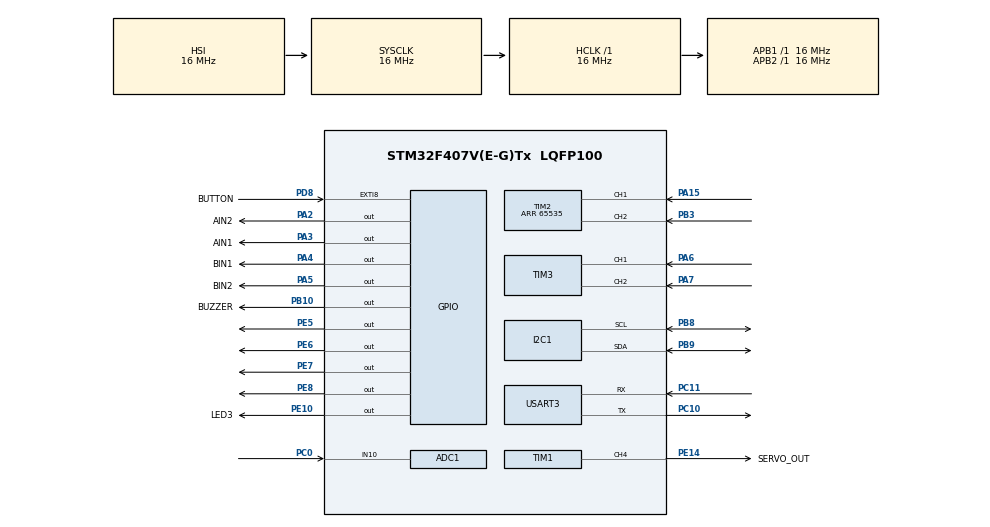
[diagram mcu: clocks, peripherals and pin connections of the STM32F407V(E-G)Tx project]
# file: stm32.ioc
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ADC1.Channel-0\#ChannelRegularConversion=ADC_CHANNEL_10
ADC1.ContinuousConvMode=ENABLE
ADC1.DMAContinuousRequests=ENABLE
ADC1.EnableAnalogWatchDog=true
ADC1.HighThreshold=2900
ADC1.NbrOfConversionFlag=1
ADC1.Rank-0\#ChannelRegularConversion=1
ADC1.SamplingTime-0\#ChannelRegularConversion=ADC_SAMPLETIME_3CYCLES
ADC1.WatchdogChannel=ADC_CHANNEL_10
ADC1.master=1
Dma.ADC1.0.Direction=DMA_PERIPH_TO_MEMORY
Dma.ADC1.0.FIFOMode=DMA_FIFOMODE_DISABLE
Dma.ADC1.0.Instance=DMA2_Stream0
Dma.ADC1.0.MemDataAlignment=DMA_MDATAALIGN_HALFWORD
Dma.ADC1.0.MemInc=DMA_MINC_ENABLE
Dma.ADC1.0.Mode=DMA_CIRCULAR
Dma.ADC1.0.PeriphDataAlignment=DMA_PDATAALIGN_HALFWORD
Dma.ADC1.0.PeriphInc=DMA_PINC_DISABLE
Dma.ADC1.0.Priority=DMA_PRIORITY_LOW
Dma.Request0=ADC1
FREERTOS.Tasks01=defaultTask,24,128,StartDefaultTask,Default,NULL,Dynamic,NULL,NULL;movement_task,24,256,movement,Default,NULL,Dynamic,NULL,NULL;uart_state_mach,24,400,state_machine,Default,NULL,Dynamic,NULL,NULL;encoder_display,8,128,encoder,Default,NULL,Dynamic,NULL,NULL;encoder_poll_ro,24,128,encoder_poller,Default,NULL,Dynamic,NULL,NULL;ir_adc_task,8,128,ir_adc,Default,NULL,Dynamic,NULL,NULL;ir_adc_poller_t,8,128,ir_adc_poller,Default,NULL,Dynamic,NULL,NULL;imu_poller,24,128,imu_read_routine,Default,NULL,Dynamic,NULL,NULL
FREERTOS.configENABLE_FPU=1
Mcu.Family=STM32F4
Mcu.Name=STM32F407V(E-G)Tx
Mcu.Package=LQFP100
NVIC.DMA2_Stream0_IRQn=true\:5\:0\:false\:false\:true\:true\:false\:true\:true
NVIC.EXTI9_5_IRQn=true\:5\:0\:false\:false\:true\:true\:true\:true\:true
NVIC.PriorityGroup=NVIC_PRIORITYGROUP_4
NVIC.USART3_IRQn=true\:5\:0\:false\:false\:true\:true\:true\:true\:true
PA15.Signal=S_TIM2_CH1_ETR
PA2.GPIO_Label=AIN2
PA2.GPIO_Speed=GPIO_SPEED_FREQ_HIGH
PA2.Signal=GPIO_Output
PA3.GPIO_Label=AIN1
PA3.GPIO_Speed=GPIO_SPEED_FREQ_HIGH
PA3.Signal=GPIO_Output
PA4.GPIO_Label=BIN1
PA4.GPIO_Speed=GPIO_SPEED_FREQ_HIGH
PA4.Signal=GPIO_Output
PA5.GPIO_Label=BIN2
PA5.GPIO_Speed=GPIO_SPEED_FREQ_HIGH
PA5.Signal=GPIO_Output
PA6.Signal=S_TIM3_CH1
PA7.Signal=S_TIM3_CH2
PB10.GPIO_Label=BUZZER
PB10.Signal=GPIO_Output
PB3.Signal=S_TIM2_CH2
PB8.Mode=I2C
PB8.Signal=I2C1_SCL
PB9.Mode=I2C
PB9.Signal=I2C1_SDA
PC0.Signal=ADCx_IN10
PC10.Mode=Asynchronous
PC10.Signal=USART3_TX
PC11.Mode=Asynchronous
PC11.Signal=USART3_RX
PC6.GPIO_Label=PWMA
PC6.Signal=S_TIM8_CH1
PC7.GPIO_Label=PWMB
PC7.Signal=S_TIM8_CH2
PD8.GPIO_Label=BUTTON
PD8.GPIO_ModeDefaultEXTI=GPIO_MODE_IT_FALLING
PD8.GPIO_PuPd=GPIO_PULLUP
PD8.Signal=GPXTI8
PE10.GPIO_Label=LED3
PE10.Signal=GPIO_Output
PE14.GPIO_Label=SERVO_OUT
PE14.Signal=S_TIM1_CH4
PE5.Signal=GPIO_Output
PE6.Signal=GPIO_Output
PE7.Signal=GPIO_Output
PE8.Signal=GPIO_Output
ProjectManager.HeapSize=0x200
ProjectManager.StackSize=0x400
ProjectManager.TargetToolchain=STM32CubeIDE
RCC.AHBFreq_Value=16000000
RCC.APB1Freq_Value=16000000
RCC.APB2Freq_Value=16000000
RCC.CortexFreq_Value=16000000
RCC.HSE_VALUE=25000000
RCC.HSI_VALUE=16000000
RCC.LSE_VALUE=32768
RCC.SYSCLKFreq_VALUE=16000000
RCC.VCOOutputFreq_Value=192000000
SH.ADCx_IN10.0=ADC1_IN10,IN10
SH.S_TIM1_CH4.0=TIM1_CH4,PWM Generation4 CH4
SH.S_TIM2_CH1_ETR.0=TIM2_CH1,Encoder_Interface
SH.S_TIM2_CH2.0=TIM2_CH2,Encoder_Interface
SH.S_TIM3_CH1.0=TIM3_CH1,Encoder_Interface
SH.S_TIM3_CH2.0=TIM3_CH2,Encoder_Interface
SH.S_TIM8_CH1.0=TIM8_CH1
SH.S_TIM8_CH2.0=TIM8_CH2
TIM1.AutoReloadPreload=TIM_AUTORELOAD_PRELOAD_ENABLE
TIM1.Channel-PWM\ Generation4\ CH4=TIM_CHANNEL_4
TIM1.Period=1000
TIM1.Prescaler=160
TIM2.Period=65535
TIM8.Channel-PWM\ Generation1\ No\ Output=TIM_CHANNEL_1
TIM8.Channel-PWM\ Generation2\ No\ Output=TIM_CHANNEL_2
TIM8.Period=7199
USART3.VirtualMode=VM_ASYNC
VP_FREERTOS_VS_CMSIS_V2.Mode=CMSIS_V2
VP_TIM1_VS_ClockSourceINT.Mode=Internal
VP_TIM8_VS_ClockSourceINT.Mode=Internal
VP_TIM8_VS_no_output1.Mode=PWM Generation1 No Output
VP_TIM8_VS_no_output2.Mode=PWM Generation2 No Output
board=custom

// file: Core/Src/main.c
/* USER CODE BEGIN Header */
/**
 ******************************************************************************
 * @file           : main.c
 * @brief          : Main program body
 ******************************************************************************
 * @attention
 *
 * <h2><center>&copy; Copyright (c) 2022 STMicroelectronics.
 * All rights reserved.</center></h2>
 *
 * This software component is licensed by ST under BSD 3-Clause license,
 * the "License"; You may not use this file except in compliance with the
 * License. You may obtain a copy of the License at:
 *                        opensource.org/licenses/BSD-3-Clause
 *
 ******************************************************************************
 */
/* USER CODE END Header */
#include "main.h"
#include "cmsis_os.h"

/* USER CODE BEGIN Includes */
#include "stdbool.h"
#include "string.h"
#include "inttypes.h"

#include "move.h"
#include "uart_state_machine.h"
#include "oled.h"
#include "encoder.h"
#include "ir_adc.h"
#include "imu_smooth.h"

/* USER CODE END Includes */

ADC_HandleTypeDef hadc1;
DMA_HandleTypeDef hdma_adc1;

I2C_HandleTypeDef hi2c1;

TIM_HandleTypeDef htim1;
TIM_HandleTypeDef htim2;
TIM_HandleTypeDef htim3;
TIM_HandleTypeDef htim8;

UART_HandleTypeDef huart3;

/* Definitions for defaultTask */
osThreadId_t defaultTaskHandle;
const osThreadAttr_t defaultTask_attributes = {
  .name = "defaultTask",
  .stack_size = 128 * 4,
  .priority = (osPriority_t) osPriorityNormal,
};
/* Definitions for movement_task */
osThreadId_t movement_taskHandle;
const osThreadAttr_t movement_task_attributes = {
  .name = "movement_task",
  .stack_size = 256 * 4,
  .priority = (osPriority_t) osPriorityNormal,
};
/* Definitions for uart_state_mach */
osThreadId_t uart_state_machHandle;
const osThreadAttr_t uart_state_mach_attributes = {
  .name = "uart_state_mach",
  .stack_size = 400 * 4,
  .priority = (osPriority_t) osPriorityNormal,
};
/* Definitions for encoder_display */
osThreadId_t encoder_displayHandle;
const osThreadAttr_t encoder_display_attributes = {
  .name = "encoder_display",
  .stack_size = 128 * 4,
  .priority = (osPriority_t) osPriorityLow,
};
/* Definitions for encoder_poll_ro */
osThreadId_t encoder_poll_roHandle;
const osThreadAttr_t encoder_poll_ro_attributes = {
  .name = "encoder_poll_ro",
  .stack_size = 128 * 4,
  .priority = (osPriority_t) osPriorityNormal,
};
/* Definitions for ir_adc_task */
osThreadId_t ir_adc_taskHandle;
const osThreadAttr_t ir_adc_task_attributes = {
  .name = "ir_adc_task",
  .stack_size = 128 * 4,
  .priority = (osPriority_t) osPriorityLow,
};
/* Definitions for ir_adc_poller_t */
osThreadId_t ir_adc_poller_tHandle;
const osThreadAttr_t ir_adc_poller_t_attributes = {
  .name = "ir_adc_poller_t",
  .stack_size = 128 * 4,
  .priority = (osPriority_t) osPriorityLow,
};
/* Definitions for imu_poller */
osThreadId_t imu_pollerHandle;
const osThreadAttr_t imu_poller_attributes = {
  .name = "imu_poller",
  .stack_size = 128 * 4,
  .priority = (osPriority_t) osPriorityNormal,
};
/* USER CODE BEGIN PV */

static ICM20948 IMU_instance = {0};
static IMUData_t IMU_data = {0};

/* USER CODE END PV */

void SystemClock_Config(void);
static void MX_GPIO_Init(void);
static void MX_DMA_Init(void);
static void MX_TIM1_Init(void);
static void MX_TIM8_Init(void);
static void MX_USART3_UART_Init(void);
static void MX_TIM2_Init(void);
static void MX_TIM3_Init(void);
static void MX_ADC1_Init(void);
static void MX_I2C1_Init(void);
void StartDefaultTask(void *argument);
void movement(void *argument);
void state_machine(void *argument);
void encoder(void *argument);
void encoder_poller(void *argument);
void ir_adc(void *argument);
void ir_adc_poller(void *argument);
void imu_read_routine(void *argument);

/* USER CODE BEGIN 0 */
uint8_t UART_RX_BUF[20]; // 20 char UART receive buffer
uint8_t UART_RX_CHAR;    // single char receive buffer
/* USER CODE END 0 */

int main(void)
{

  /* MCU Configuration--------------------------------------------------------*/

  /* Reset of all peripherals, Initializes the Flash interface and the Systick. */
  HAL_Init();

  /* Configure the system clock */
  SystemClock_Config();

  /* Initialize all configured peripherals */
  MX_GPIO_Init();
  MX_DMA_Init();
  MX_TIM1_Init();
  MX_TIM8_Init();
  MX_USART3_UART_Init();
  MX_TIM2_Init();
  MX_TIM3_Init();
  MX_ADC1_Init();
  MX_I2C1_Init();
  /* USER CODE BEGIN 2 */
    OLED_Init();

    ir_adc_init(&hadc1);

    HAL_UART_Receive_IT(&huart3, &UART_RX_CHAR, 1);

    motor_init_timer(&htim8, TIM_CHANNEL_1, TIM_CHANNEL_2);
    motor_init_gpio_left(GPIOA, AIN1_Pin, AIN2_Pin);
    motor_init_gpio_right(GPIOA, BIN1_Pin, BIN2_Pin);
    motor_stop();
    servo_init(&htim1, TIM_CHANNEL_4);
    encoder_init(&htim2, &htim3, TIM_CHANNEL_ALL, TIM_CHANNEL_ALL);
		// IMU_S_Initialise(&IMU_instance, &hi2c1, &huart3);
    IMU_Initialise(&IMU_instance, &hi2c1, &huart3);

    // send image capture on boot
    // USART3_SEND_IMAGE_CAPTURE();
  /* USER CODE END 2 */

  /* Init scheduler */
  osKernelInitialize();

  /* Create the thread(s) */
  /* creation of defaultTask */
  // defaultTaskHandle = osThreadNew(StartDefaultTask, NULL, &defaultTask_attributes);

  /* creation of movement_task */
  movement_taskHandle = osThreadNew(movement, NULL, &movement_task_attributes);

  /* creation of uart_state_mach */
  // uart_state_machHandle = osThreadNew(state_machine, NULL, &uart_state_mach_attributes);

  /* creation of encoder_display */
  encoder_displayHandle = osThreadNew(encoder, NULL, &encoder_display_attributes);

  /* creation of encoder_poll_ro */
  encoder_poll_roHandle = osThreadNew(encoder_poller, NULL, &encoder_poll_ro_attributes);

  /* creation of ir_adc_task */
  // ir_adc_taskHandle = osThreadNew(ir_adc, NULL, &ir_adc_task_attributes);

  /* creation of ir_adc_poller_t */
  ir_adc_poller_tHandle = osThreadNew(ir_adc_poller, NULL, &ir_adc_poller_t_attributes);

  /* creation of imu_poller */
  // imu_pollerHandle = osThreadNew(imu_read_routine, NULL, &imu_poller_attributes);

  /* Start scheduler */
  osKernelStart();

  /* We should never get here as control is now taken by the scheduler */
  /* Infinite loop */
    while (1)
    {

    }
}

void SystemClock_Config(void)
{
  RCC_OscInitTypeDef RCC_OscInitStruct = {0};
  RCC_ClkInitTypeDef RCC_ClkInitStruct = {0};

  /** Configure the main internal regulator output voltage
  */
  __HAL_RCC_PWR_CLK_ENABLE();
  __HAL_PWR_VOLTAGESCALING_CONFIG(PWR_REGULATOR_VOLTAGE_SCALE1);

  /** Initializes the RCC Oscillators according to the specified parameters
  * in the RCC_OscInitTypeDef structure.
  */
  RCC_OscInitStruct.OscillatorType = RCC_OSCILLATORTYPE_HSI;
  RCC_OscInitStruct.HSIState = RCC_HSI_ON;
  RCC_OscInitStruct.HSICalibrationValue = RCC_HSICALIBRATION_DEFAULT;
  RCC_OscInitStruct.PLL.PLLState = RCC_PLL_NONE;
  if (HAL_RCC_OscConfig(&RCC_OscInitStruct) != HAL_OK)
  {
    Error_Handler();
  }

  /** Initializes the CPU, AHB and APB buses clocks
  */
  RCC_ClkInitStruct.ClockType = RCC_CLOCKTYPE_HCLK|RCC_CLOCKTYPE_SYSCLK
                              |RCC_CLOCKTYPE_PCLK1|RCC_CLOCKTYPE_PCLK2;
  RCC_ClkInitStruct.SYSCLKSource = RCC_SYSCLKSOURCE_HSI;
  RCC_ClkInitStruct.AHBCLKDivider = RCC_SYSCLK_DIV1;
  RCC_ClkInitStruct.APB1CLKDivider = RCC_HCLK_DIV1;
  RCC_ClkInitStruct.APB2CLKDivider = RCC_HCLK_DIV1;

  if (HAL_RCC_ClockConfig(&RCC_ClkInitStruct, FLASH_LATENCY_0) != HAL_OK)
  {
    Error_Handler();
  }
}

static void MX_ADC1_Init(void)
{

  ADC_AnalogWDGConfTypeDef AnalogWDGConfig = {0};
  ADC_ChannelConfTypeDef sConfig = {0};

  /** Configure the global features of the ADC (Clock, Resolution, Data Alignment and number of conversion)
  */
  hadc1.Instance = ADC1;
  hadc1.Init.ClockPrescaler = ADC_CLOCK_SYNC_PCLK_DIV2;
  hadc1.Init.Resolution = ADC_RESOLUTION_12B;
  hadc1.Init.ScanConvMode = DISABLE;
  hadc1.Init.ContinuousConvMode = ENABLE;
  hadc1.Init.DiscontinuousConvMode = DISABLE;
  hadc1.Init.ExternalTrigConvEdge = ADC_EXTERNALTRIGCONVEDGE_NONE;
  hadc1.Init.ExternalTrigConv = ADC_SOFTWARE_START;
  hadc1.Init.DataAlign = ADC_DATAALIGN_RIGHT;
  hadc1.Init.NbrOfConversion = 1;
  hadc1.Init.DMAContinuousRequests = ENABLE;
  hadc1.Init.EOCSelection = ADC_EOC_SINGLE_CONV;
  if (HAL_ADC_Init(&hadc1) != HAL_OK)
  {
    Error_Handler();
  }

  /** Configure the analog watchdog
  */
  AnalogWDGConfig.WatchdogMode = ADC_ANALOGWATCHDOG_SINGLE_REG;
  AnalogWDGConfig.HighThreshold = 2900;
  AnalogWDGConfig.LowThreshold = 0;
  AnalogWDGConfig.Channel = ADC_CHANNEL_10;
  AnalogWDGConfig.ITMode = DISABLE;
  if (HAL_ADC_AnalogWDGConfig(&hadc1, &AnalogWDGConfig) != HAL_OK)
  {
    Error_Handler();
  }

  /** Configure for the selected ADC regular channel its corresponding rank in the sequencer and its sample time.
  */
  sConfig.Channel = ADC_CHANNEL_10;
  sConfig.Rank = 1;
  sConfig.SamplingTime = ADC_SAMPLETIME_3CYCLES;
  if (HAL_ADC_ConfigChannel(&hadc1, &sConfig) != HAL_OK)
  {
    Error_Handler();
  }

}

static void MX_I2C1_Init(void)
{

  hi2c1.Instance = I2C1;
  hi2c1.Init.ClockSpeed = 100000;
  hi2c1.Init.DutyCycle = I2C_DUTYCYCLE_2;
  hi2c1.Init.OwnAddress1 = 0;
  hi2c1.Init.AddressingMode = I2C_ADDRESSINGMODE_7BIT;
  hi2c1.Init.DualAddressMode = I2C_DUALADDRESS_DISABLE;
  hi2c1.Init.OwnAddress2 = 0;
  hi2c1.Init.GeneralCallMode = I2C_GENERALCALL_DISABLE;
  hi2c1.Init.NoStretchMode = I2C_NOSTRETCH_DISABLE;
  if (HAL_I2C_Init(&hi2c1) != HAL_OK)
  {
    Error_Handler();
  }

}

static void MX_TIM1_Init(void)
{

  TIM_ClockConfigTypeDef sClockSourceConfig = {0};
  TIM_MasterConfigTypeDef sMasterConfig = {0};
  TIM_OC_InitTypeDef sConfigOC = {0};
  TIM_BreakDeadTimeConfigTypeDef sBreakDeadTimeConfig = {0};

  htim1.Instance = TIM1;
  htim1.Init.Prescaler = 160;
  htim1.Init.CounterMode = TIM_COUNTERMODE_UP;
  htim1.Init.Period = 1000;
  htim1.Init.ClockDivision = TIM_CLOCKDIVISION_DIV1;
  htim1.Init.RepetitionCounter = 0;
  htim1.Init.AutoReloadPreload = TIM_AUTORELOAD_PRELOAD_ENABLE;
  if (HAL_TIM_Base_Init(&htim1) != HAL_OK)
  {
    Error_Handler();
  }
  sClockSourceConfig.ClockSource = TIM_CLOCKSOURCE_INTERNAL;
  if (HAL_TIM_ConfigClockSource(&htim1, &sClockSourceConfig) != HAL_OK)
  {
    Error_Handler();
  }
  if (HAL_TIM_PWM_Init(&htim1) != HAL_OK)
  {
    Error_Handler();
  }
  sMasterConfig.MasterOutputTrigger = TIM_TRGO_RESET;
  sMasterConfig.MasterSlaveMode = TIM_MASTERSLAVEMODE_DISABLE;
  if (HAL_TIMEx_MasterConfigSynchronization(&htim1, &sMasterConfig) != HAL_OK)
  {
    Error_Handler();
  }
  sConfigOC.OCMode = TIM_OCMODE_PWM1;
  sConfigOC.Pulse = 0;
  sConfigOC.OCPolarity = TIM_OCPOLARITY_HIGH;
  sConfigOC.OCFastMode = TIM_OCFAST_DISABLE;
  sConfigOC.OCIdleState = TIM_OCIDLESTATE_RESET;
  sConfigOC.OCNIdleState = TIM_OCNIDLESTATE_RESET;
  if (HAL_TIM_PWM_ConfigChannel(&htim1, &sConfigOC, TIM_CHANNEL_4) != HAL_OK)
  {
    Error_Handler();
  }
  sBreakDeadTimeConfig.OffStateRunMode = TIM_OSSR_DISABLE;
  sBreakDeadTimeConfig.OffStateIDLEMode = TIM_OSSI_DISABLE;
  sBreakDeadTimeConfig.LockLevel = TIM_LOCKLEVEL_OFF;
  sBreakDeadTimeConfig.DeadTime = 0;
  sBreakDeadTimeConfig.BreakState = TIM_BREAK_DISABLE;
  sBreakDeadTimeConfig.BreakPolarity = TIM_BREAKPOLARITY_HIGH;
  sBreakDeadTimeConfig.AutomaticOutput = TIM_AUTOMATICOUTPUT_DISABLE;
  if (HAL_TIMEx_ConfigBreakDeadTime(&htim1, &sBreakDeadTimeConfig) != HAL_OK)
  {
    Error_Handler();
  }
  HAL_TIM_MspPostInit(&htim1);

}

static void MX_TIM2_Init(void)
{

  TIM_Encoder_InitTypeDef sConfig = {0};
  TIM_MasterConfigTypeDef sMasterConfig = {0};

  htim2.Instance = TIM2;
  htim2.Init.Prescaler = 0;
  htim2.Init.CounterMode = TIM_COUNTERMODE_UP;
  htim2.Init.Period = 65535;
  htim2.Init.ClockDivision = TIM_CLOCKDIVISION_DIV1;
  htim2.Init.AutoReloadPreload = TIM_AUTORELOAD_PRELOAD_DISABLE;
  sConfig.EncoderMode = TIM_ENCODERMODE_TI1;
  sConfig.IC1Polarity = TIM_ICPOLARITY_RISING;
  sConfig.IC1Selection = TIM_ICSELECTION_DIRECTTI;
  sConfig.IC1Prescaler = TIM_ICPSC_DIV1;
  sConfig.IC1Filter = 0;
  sConfig.IC2Polarity = TIM_ICPOLARITY_RISING;
  sConfig.IC2Selection = TIM_ICSELECTION_DIRECTTI;
  sConfig.IC2Prescaler = TIM_ICPSC_DIV1;
  sConfig.IC2Filter = 0;
  if (HAL_TIM_Encoder_Init(&htim2, &sConfig) != HAL_OK)
  {
    Error_Handler();
  }
  sMasterConfig.MasterOutputTrigger = TIM_TRGO_RESET;
  sMasterConfig.MasterSlaveMode = TIM_MASTERSLAVEMODE_DISABLE;
  if (HAL_TIMEx_MasterConfigSynchronization(&htim2, &sMasterConfig) != HAL_OK)
  {
    Error_Handler();
  }

}

static void MX_TIM3_Init(void)
{

  TIM_Encoder_InitTypeDef sConfig = {0};
  TIM_MasterConfigTypeDef sMasterConfig = {0};

  htim3.Instance = TIM3;
  htim3.Init.Prescaler = 0;
  htim3.Init.CounterMode = TIM_COUNTERMODE_UP;
  htim3.Init.Period = 65535;
  htim3.Init.ClockDivision = TIM_CLOCKDIVISION_DIV1;
  htim3.Init.AutoReloadPreload = TIM_AUTORELOAD_PRELOAD_DISABLE;
  sConfig.EncoderMode = TIM_ENCODERMODE_TI1;
  sConfig.IC1Polarity = TIM_ICPOLARITY_RISING;
  sConfig.IC1Selection = TIM_ICSELECTION_DIRECTTI;
  sConfig.IC1Prescaler = TIM_ICPSC_DIV1;
  sConfig.IC1Filter = 0;
  sConfig.IC2Polarity = TIM_ICPOLARITY_RISING;
  sConfig.IC2Selection = TIM_ICSELECTION_DIRECTTI;
  sConfig.IC2Prescaler = TIM_ICPSC_DIV1;
  sConfig.IC2Filter = 0;
  if (HAL_TIM_Encoder_Init(&htim3, &sConfig) != HAL_OK)
  {
    Error_Handler();
  }
  sMasterConfig.MasterOutputTrigger = TIM_TRGO_RESET;
  sMasterConfig.MasterSlaveMode = TIM_MASTERSLAVEMODE_DISABLE;
  if (HAL_TIMEx_MasterConfigSynchronization(&htim3, &sMasterConfig) != HAL_OK)
  {
    Error_Handler();
  }

}

static void MX_TIM8_Init(void)
{

  TIM_ClockConfigTypeDef sClockSourceConfig = {0};
  TIM_MasterConfigTypeDef sMasterConfig = {0};
  TIM_OC_InitTypeDef sConfigOC = {0};
  TIM_BreakDeadTimeConfigTypeDef sBreakDeadTimeConfig = {0};

  htim8.Instance = TIM8;
  htim8.Init.Prescaler = 0;
  htim8.Init.CounterMode = TIM_COUNTERMODE_UP;
  htim8.Init.Period = 7199;
  htim8.Init.ClockDivision = TIM_CLOCKDIVISION_DIV1;
  htim8.Init.RepetitionCounter = 0;
  htim8.Init.AutoReloadPreload = TIM_AUTORELOAD_PRELOAD_DISABLE;
  if (HAL_TIM_Base_Init(&htim8) != HAL_OK)
  {
    Error_Handler();
  }
  sClockSourceConfig.ClockSource = TIM_CLOCKSOURCE_INTERNAL;
  if (HAL_TIM_ConfigClockSource(&htim8, &sClockSourceConfig) != HAL_OK)
  {
    Error_Handler();
  }
  if (HAL_TIM_PWM_Init(&htim8) != HAL_OK)
  {
    Error_Handler();
  }
  sMasterConfig.MasterOutputTrigger = TIM_TRGO_RESET;
  sMasterConfig.MasterSlaveMode = TIM_MASTERSLAVEMODE_DISABLE;
  if (HAL_TIMEx_MasterConfigSynchronization(&htim8, &sMasterConfig) != HAL_OK)
  {
    Error_Handler();
  }
  sConfigOC.OCMode = TIM_OCMODE_PWM1;
  sConfigOC.Pulse = 0;
  sConfigOC.OCPolarity = TIM_OCPOLARITY_HIGH;
  sConfigOC.OCNPolarity = TIM_OCNPOLARITY_HIGH;
  sConfigOC.OCFastMode = TIM_OCFAST_DISABLE;
  sConfigOC.OCIdleState = TIM_OCIDLESTATE_RESET;
  sConfigOC.OCNIdleState = TIM_OCNIDLESTATE_RESET;
  if (HAL_TIM_PWM_ConfigChannel(&htim8, &sConfigOC, TIM_CHANNEL_1) != HAL_OK)
  {
    Error_Handler();
  }
  if (HAL_TIM_PWM_ConfigChannel(&htim8, &sConfigOC, TIM_CHANNEL_2) != HAL_OK)
  {
    Error_Handler();
  }
  sBreakDeadTimeConfig.OffStateRunMode = TIM_OSSR_DISABLE;
  sBreakDeadTimeConfig.OffStateIDLEMode = TIM_OSSI_DISABLE;
  sBreakDeadTimeConfig.LockLevel = TIM_LOCKLEVEL_OFF;
  sBreakDeadTimeConfig.DeadTime = 0;
  sBreakDeadTimeConfig.BreakState = TIM_BREAK_DISABLE;
  sBreakDeadTimeConfig.BreakPolarity = TIM_BREAKPOLARITY_HIGH;
  sBreakDeadTimeConfig.AutomaticOutput = TIM_AUTOMATICOUTPUT_DISABLE;
  if (HAL_TIMEx_ConfigBreakDeadTime(&htim8, &sBreakDeadTimeConfig) != HAL_OK)
  {
    Error_Handler();
  }

}

static void MX_USART3_UART_Init(void)
{

  huart3.Instance = USART3;
  huart3.Init.BaudRate = 115200;
  huart3.Init.WordLength = UART_WORDLENGTH_8B;
  huart3.Init.StopBits = UART_STOPBITS_1;
  huart3.Init.Parity = UART_PARITY_NONE;
  huart3.Init.Mode = UART_MODE_TX_RX;
  huart3.Init.HwFlowCtl = UART_HWCONTROL_NONE;
  huart3.Init.OverSampling = UART_OVERSAMPLING_16;
  if (HAL_UART_Init(&huart3) != HAL_OK)
  {
    Error_Handler();
  }

}

static void MX_DMA_Init(void)
{

  /* DMA controller clock enable */
  __HAL_RCC_DMA2_CLK_ENABLE();

  /* DMA interrupt init */
  /* DMA2_Stream0_IRQn interrupt configuration */
  HAL_NVIC_SetPriority(DMA2_Stream0_IRQn, 5, 0);
  HAL_NVIC_EnableIRQ(DMA2_Stream0_IRQn);

}

static void MX_GPIO_Init(void)
{
  GPIO_InitTypeDef GPIO_InitStruct = {0};

  /* GPIO Ports Clock Enable */
  __HAL_RCC_GPIOE_CLK_ENABLE();
  __HAL_RCC_GPIOC_CLK_ENABLE();
  __HAL_RCC_GPIOA_CLK_ENABLE();
  __HAL_RCC_GPIOB_CLK_ENABLE();
  __HAL_RCC_GPIOD_CLK_ENABLE();

  /*Configure GPIO pin Output Level */
  HAL_GPIO_WritePin(GPIOE, GPIO_PIN_5|GPIO_PIN_6|GPIO_PIN_7|GPIO_PIN_8
                          |LED3_Pin, GPIO_PIN_RESET);

  /*Configure GPIO pin Output Level */
  HAL_GPIO_WritePin(GPIOA, AIN2_Pin|AIN1_Pin|BIN1_Pin|BIN2_Pin, GPIO_PIN_RESET);

  /*Configure GPIO pin Output Level */
  HAL_GPIO_WritePin(BUZZER_GPIO_Port, BUZZER_Pin, GPIO_PIN_RESET);

  /*Configure GPIO pins : PE5 PE6 PE7 PE8
                           LED3_Pin */
  GPIO_InitStruct.Pin = GPIO_PIN_5|GPIO_PIN_6|GPIO_PIN_7|GPIO_PIN_8
                          |LED3_Pin;
  GPIO_InitStruct.Mode = GPIO_MODE_OUTPUT_PP;
  GPIO_InitStruct.Pull = GPIO_NOPULL;
  GPIO_InitStruct.Speed = GPIO_SPEED_FREQ_LOW;
  HAL_GPIO_Init(GPIOE, &GPIO_InitStruct);

  /*Configure GPIO pins : AIN2_Pin AIN1_Pin BIN1_Pin BIN2_Pin */
  GPIO_InitStruct.Pin = AIN2_Pin|AIN1_Pin|BIN1_Pin|BIN2_Pin;
  GPIO_InitStruct.Mode = GPIO_MODE_OUTPUT_PP;
  GPIO_InitStruct.Pull = GPIO_NOPULL;
  GPIO_InitStruct.Speed = GPIO_SPEED_FREQ_HIGH;
  HAL_GPIO_Init(GPIOA, &GPIO_InitStruct);

  /*Configure GPIO pin : BUZZER_Pin */
  GPIO_InitStruct.Pin = BUZZER_Pin;
  GPIO_InitStruct.Mode = GPIO_MODE_OUTPUT_PP;
  GPIO_InitStruct.Pull = GPIO_NOPULL;
  GPIO_InitStruct.Speed = GPIO_SPEED_FREQ_LOW;
  HAL_GPIO_Init(BUZZER_GPIO_Port, &GPIO_InitStruct);

  /*Configure GPIO pin : BUTTON_Pin */
  GPIO_InitStruct.Pin = BUTTON_Pin;
  GPIO_InitStruct.Mode = GPIO_MODE_IT_FALLING;
  GPIO_InitStruct.Pull = GPIO_PULLUP;
  HAL_GPIO_Init(BUTTON_GPIO_Port, &GPIO_InitStruct);

  /* EXTI interrupt init*/
  HAL_NVIC_SetPriority(EXTI9_5_IRQn, 5, 0);
  HAL_NVIC_EnableIRQ(EXTI9_5_IRQn);

}

/* USER CODE BEGIN 4 */

// USART receive callback
// State machine functions only called here
void HAL_UART_RxCpltCallback(UART_HandleTypeDef *huart)
{

    // prevent unused arg warning during compilation
    UNUSED(huart);

    __disable_irq();
    uint8_t response = state_machine_interpreter(UART_RX_CHAR);
    __enable_irq();

    // send back data in non blocking mode
    HAL_UART_Transmit_IT(&huart3, (uint8_t *)&response, 1);

    HAL_UART_Receive_IT(&huart3, &UART_RX_CHAR, sizeof(UART_RX_CHAR));
}

/**
 * @brief  Analog watchdog callback in non blocking mode.
 * @param  hadc: ADC handle
 * @retval None
 */
void HAL_ADC_LevelOutOfWindowCallback(ADC_HandleTypeDef *hadc)
{
    /* Set variable to report analog watchdog out of window status to main program. */
//    ubAnalogWatchdogStatus = SET;
}

// Interrupt routine for GPIO pins
void HAL_GPIO_EXTI_Callback(uint16_t GPIO_Pin) {

	// button routine: activate/deactivate move to obstacle
	if(GPIO_Pin == BUTTON_Pin) {
		FLAG_APPROACH_OBSTACLE ^= 0x1;
	}
}

/* USER CODE END 4 */

void StartDefaultTask(void *argument)
{
  /* USER CODE BEGIN 5 */
	static uint32_t ticks = 0;
    /* Infinite loop */
    for (;;)
    {
    	ticks = osKernelGetTickCount();
   	// move_backward_pid_cm(20);
  	// _set_motor_speed_pid(MotorDirForward, MotorLeft, 200);
  	// _set_motor_speed_pid(MotorDirForward, MotorRight, 200);
    // osDelayUntil(ticks + MOVE_PID_LOOP_PERIOD_TICKS); //20 hz
    	osDelay(1000);
    }
  /* USER CODE END 5 */
}

/* USER CODE BEGIN Header_movement */
extern void (*HARDCODE_DIRECTION)(void); // func from state machine
/**
 * @brief Function implementing the movement_task thread.
 * @param argument: Not used
 * @retval None
 */
/* USER CODE END Header_movement */
void movement(void *argument)
{
  /* USER CODE BEGIN movement */
    static uint32_t ticks = 0;

    static volatile uint16_t mvmt_dist = 0;
    static volatile uint16_t turn_angle = 0;
    static volatile uint8_t cardinal = 0;
    static volatile int8_t appr_obstacle = 0;

    static volatile int8_t move_dir = 0;
    static volatile int8_t turn_dir = 0;

    static volatile bool change_lane = false;
    static volatile bool change_lane_big = false;
    static volatile bool u_turn = false;
    static volatile int8_t switch_dir = 0;
    static volatile int16_t lane_dist = 0;

    // Flags set in the UART interrupt routine set here
    /* Infinite loop */
    for (;;)
    {
        // HAL_GPIO_TogglePin(LED3_GPIO_Port, LED3_Pin);
        ticks = osKernelGetTickCount();

        __disable_irq();
        mvmt_dist = FLAG_MOVEMENT_DISTANCE;
        turn_angle = FLAG_TURN_ANGLE;
        cardinal = FLAG_IN_PLACE_CARDINAL;
        appr_obstacle = FLAG_APPROACH_OBSTACLE;

        move_dir = FLAG_MOVE_DIR;
        turn_dir = FLAG_TURN_DIR;

        change_lane = FLAG_CHANGE_LANE;
        change_lane_big = FLAG_CHANGE_BIG_LANE;
        u_turn = FLAG_U_TURN;
        switch_dir = FLAG_SWITCH_DIR;
        lane_dist = FLAG_LANE_DISTANCE;

        FLAG_MOVEMENT_DISTANCE = 0;
        FLAG_TURN_ANGLE = 0;
        FLAG_IN_PLACE_CARDINAL = 0;
        FLAG_APPROACH_OBSTACLE = 0;

        FLAG_MOVE_DIR = 0;
        FLAG_TURN_DIR = 0;

        FLAG_CHANGE_LANE = false;
        FLAG_CHANGE_BIG_LANE = false;
        FLAG_U_TURN = false;
        FLAG_SWITCH_DIR = 0; // right/left, +1 or -1 only
        FLAG_LANE_DISTANCE = 0;
        __enable_irq();

        if (mvmt_dist != 0)
        {

            if (move_dir < 0)
            {
                // HAL_UART_Transmit(&huart3, (uint8_t *)"MoveB\r\n", 10, HAL_MAX_DELAY);
//                move_backward_calc(mvmt_dist);
                move_backward_pid_cm(mvmt_dist * 0.9, true);
                _pid_stop(MotorDirBackward, MOVE_DEFAULT_SPEED_STRAIGHT_MM_S, mvmt_dist);
                // motor_stop_backward();
                // move_f_operation_1(50, MoveDirLeft);
                USART3_SEND_AMP(); // algo needs this to know when to send the next command
            }
            else if (move_dir > 0)
            {
                // HAL_UART_Transmit(&huart3, (uint8_t *)"MoveF\r\n", 10, HAL_MAX_DELAY);
//                 move_forward_calc(mvmt_dist);
                // move_f_operation_1(50, MoveDirRight);
                 move_forward_pid_cm(mvmt_dist * 0.9, true);
                 _pid_stop(MotorDirForward, MOVE_DEFAULT_SPEED_STRAIGHT_MM_S, mvmt_dist);
                //  motor_stop_backward();
                // move_f_operation_1(50, MoveDirLeft);
                 USART3_SEND_AMP();
//                move_to_obstacle();
                // HAL_UART_Transmit(&huart3, (uint8_t *)"MoveOK\r\n", 10, HAL_MAX_DELAY);
            }
            mvmt_dist = 0;
        }

        if (turn_angle != 0)
        {

            if (move_dir < 0)
            {
                move_turn_backward_pid_degrees(turn_dir > 0 ? MoveDirRight : MoveDirLeft, turn_angle, false);
                USART3_SEND_AMP();
            }
            else if (move_dir > 0)
            {
                move_turn_forward_pid_degrees(turn_dir > 0 ? MoveDirRight : MoveDirLeft, turn_angle, false);
                USART3_SEND_AMP();
                // FLAG_APPROACH_OBSTACLE ^= 1; // do operation 3
            }

            turn_angle = 0;
        }

        if (cardinal != 0)
        {
            move_in_place_turn_cardinal(cardinal);
            USART3_SEND_AMP();
            cardinal = 0;
        }

        if(appr_obstacle == 1) {
          appr_obstacle = 0;
          if(FLAG_LOW_GRIP) {move_f_operation_3();}
          else {move_f_operation_3_fast();}
          USART3_SEND_AMP();

        }

        // fastest car stuff
        if(change_lane) {
          if(FLAG_LOW_GRIP) {move_f_operation_1(lane_dist, switch_dir == -1 ? MoveDirLeft : MoveDirRight);}
          else {move_f_operation_1_fast(lane_dist, switch_dir == -1 ? MoveDirLeft : MoveDirRight);}
          USART3_SEND_AMP();
        }

        if(change_lane_big) {
          if(FLAG_LOW_GRIP) {move_f_operation_2(lane_dist, switch_dir == -1 ? MoveDirLeft : MoveDirRight);}
          else {move_f_operation_2_fast(lane_dist, switch_dir == -1 ? MoveDirLeft : MoveDirRight);}
          USART3_SEND_AMP();
          // move_f_operation_3_fast();
          // USART3_SEND_AMP();
          // FLAG_APPROACH_OBSTACLE ^= 1; // enable this for fully automatic movements after second operation
        }

        osDelayUntil(ticks + 100); // 10hz polling
    }
  /* USER CODE END movement */
}

void state_machine(void *argument)
{
    for (;;)
    {
        osDelay(1);
    }
}

void encoder(void *argument)
{
  /* USER CODE BEGIN encoder */
    static uint32_t ticks = 0;
    static char oled_lines[6][17] = {0};

    OLED_Display_On();

    /* Infinite loop */
    for (;;)
    {
        ticks = osKernelGetTickCount();
        // float stuff = 3.14141414 * 0.1234123f * ticks;
        // IMU_GyroRead(&IMU_instance);

        taskENTER_CRITICAL();
        // note here that strings are max 16 (+1 null) chars long
        sprintf(oled_lines[0], "L<%05lu  %05lu>R", ENCODER_POS_DIRECTIONAL_FORWARD[0], ENCODER_POS_DIRECTIONAL_FORWARD[1]);
        sprintf(oled_lines[1], "L<%+05d  %+05d>R", ENCODER_SPEED_DIRECTIONAL[0], ENCODER_SPEED_DIRECTIONAL[1]);
        sprintf(oled_lines[2], "%04d", IR_ADC_AVERAGE_READOUT); // blank line
        taskEXIT_CRITICAL();

        OLED_ShowString(0, 0, (uint8_t *)oled_lines[0]);
        OLED_ShowString(0, 10, (uint8_t *)oled_lines[1]);
        OLED_ShowString(0, 20, (uint8_t *)oled_lines[2]);

        OLED_Refresh_Gram();

        osDelayUntil(ticks + 100); // 10hz display freq
    }
  /* USER CODE END encoder */
}

void encoder_poller(void *argument)
{
  /* USER CODE BEGIN encoder_poller */

    // Polls and updates the encoder values

    static uint32_t ticks = 0;
    /* Infinite loop */
    for (;;)

    {
        ticks = osKernelGetTickCount();
        HAL_GPIO_TogglePin(LED3_GPIO_Port, LED3_Pin);
        taskENTER_CRITICAL();
        // IMU_GyroRead(&IMU_instance);
        encoder_poll();
        taskEXIT_CRITICAL();

        osDelayUntil(ticks + MOTOR_ENCODER_REFRESH_INTERVAL_TICKS);
    }
  /* USER CODE END encoder_poller */
}

void ir_adc(void *argument)
{
  /* USER CODE BEGIN ir_adc */
    // static uint16_t IR_READOUT = 0;
    static uint32_t ticks = 0;
    static char buffer_ADC[100] = {0};
    float yaw = 0.0f;
    static char SERIALPLOT_ENDL[2] = "\r\n"; // no null terminator

    for (;;)
    {
        ticks = osKernelGetTickCount();
        HAL_GPIO_TogglePin(LED3_GPIO_Port, LED3_Pin);
        taskENTER_CRITICAL();
        // IMU_GyroReadYaw(&IMU_instance, &yaw);

        // sprintf(buffer_ADC, "%010d", (int)(yaw * 100)); // blank line

				// IMU_GyroRead(&IMU_instance);
        sprintf(
        		buffer_ADC,
            "%04d",
				// "%04d %04d %04d %06d %06d %06d %06d %06d %06d\r\n",
				IR_ADC_AVERAGE_READOUT
				// ENCODER_SPEED_DIRECTIONAL[0],
				// ENCODER_SPEED_DIRECTIONAL[1],
        // ENCODER_POS[0],
        // ENCODER_POS[1],
        // ENCODER_POS_DIRECTIONAL_FORWARD[0],
        // ENCODER_POS_DIRECTIONAL_FORWARD[1],
        // ENCODER_POS_DIRECTIONAL_BACKWARD[0],
        // ENCODER_POS_DIRECTIONAL_BACKWARD[1]

				// "%7.2f\r\n",
				// IMU_instance.gyro[2]
				// IMU_yaw
		);
        taskEXIT_CRITICAL();

        HAL_UART_Transmit(&huart3, (uint8_t *)buffer_ADC, sizeof buffer_ADC, HAL_MAX_DELAY);
        HAL_UART_Transmit(&huart3, SERIALPLOT_ENDL, sizeof SERIALPLOT_ENDL, HAL_MAX_DELAY);

        osDelayUntil(ticks + 5);
        // osDelay(100);
    }

  /* USER CODE END ir_adc */
}

void ir_adc_poller(void *argument)
{
  /* USER CODE BEGIN ir_adc_poller */

    // Polls and updates the ir adc values

    static uint32_t ticks = 0;
    /* Infinite loop */
    for (;;)

    {
        ticks = osKernelGetTickCount();

        taskENTER_CRITICAL();
        ir_adc_poll();
        taskEXIT_CRITICAL();

        osDelayUntil(ticks + IR_ADC_POLLING_RATE_TICKS);
    }
  /* USER CODE END ir_adc_poller */
}

void imu_read_routine(void *argument)
{
  /* USER CODE BEGIN imu_read_routine */
	static uint32_t time_ticks = 0;
  /* Infinite loop */
  for(;;)
  {
		time_ticks = osKernelGetTickCount();

		taskENTER_CRITICAL();
		// IMU_Poll(&IMU_data);
    // IMU_GyroRead(&IMU_instance);
		taskEXIT_CRITICAL();

    // osDelayUntil(time_ticks + IMU_POLLING_RATE_TICKS);
    osDelay(100);
  }
  /* USER CODE END imu_read_routine */
}

void Error_Handler(void)
{
    __disable_irq();
    while (1)
    {
    }
}
